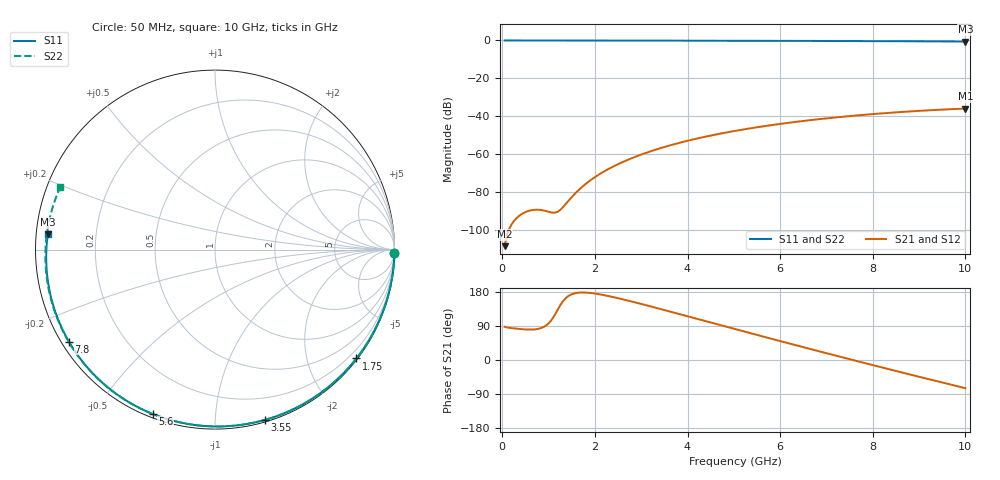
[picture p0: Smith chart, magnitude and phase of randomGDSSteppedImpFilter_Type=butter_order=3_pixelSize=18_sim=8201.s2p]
! freq	dB(S11)	phase(S11)	dB(S12)	phase(S12)
!  dB(S21)	phase(S21)	dB(S22)	phase(S22)
!S-par simulation data
#  GHz  S  DB  R 50
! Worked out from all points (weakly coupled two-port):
!   200 points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, 50 MHz to 10 GHz, reference 50 ohm
!   highest |S21| = -35.93 dB at 10 GHz (marker M1); lowest = -108.5 dB at 50 MHz (marker M2)
!   lowest |S11| = -0.6 dB at 10 GHz (marker M3), VSWR 29.88, Z = 1.68 + j2.3 ohm
!   |S11| at or under -10 dB: nowhere
!   |S22| runs from -0.6 to 0.0 dB; largest |S21 - S12| = 0
!   S11 on the Smith chart (normalised r, x): 50 MHz: open; 1.75 GHz: 0.03, -2.94; 3.55 GHz: 0.02, -1.34; 5.6 GHz: 0.02, -0.69; 7.8 GHz: 0.02, -0.29; 10 GHz: 0.03, +0.05
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0.05  -0.00 -1.1  -108.52 87.6  -108.52 87.6  -0.00 -1.1
0.4  -0.01 -8.8  -91.88 81.6  -91.88 81.6  -0.01 -8.9
0.8  -0.02 -17.4  -89.34 82.9  -89.34 82.9  -0.02 -17.6
1.6  -0.04 -34.4  -80.06 176.8  -80.06 176.8  -0.04 -34.9
1.75  -0.05 -37.6  -76.70 178.1  -76.70 178.1  -0.05 -38.1
2.05  -0.06 -43.8  -71.30 174.4  -71.30 174.4  -0.06 -44.4
2.45  -0.07 -52.0  -65.84 164.5  -65.84 164.5  -0.07 -52.8
2.9  -0.08 -61.0  -61.10 151.1  -61.10 151.1  -0.08 -62.0
3.4  -0.09 -70.7  -56.93 135.1  -56.93 135.1  -0.10 -72.1
3.55  -0.10 -73.6  -55.84 130.2  -55.84 130.2  -0.10 -75.1
4.3  -0.12 -87.7  -51.22 105.5  -51.22 105.5  -0.13 -89.7
5.05  -0.15 -101.2  -47.61 80.8  -47.61 80.8  -0.16 -104.0
5.6  -0.18 -110.8  -45.42 62.9  -45.42 62.9  -0.19 -114.2
6.15  -0.21 -120.2  -43.53 45.1  -43.53 45.1  -0.22 -124.4
6.7  -0.25 -129.5  -41.90 27.4  -41.90 27.4  -0.26 -134.7
7.25  -0.29 -138.6  -40.48 10.0  -40.48 10.0  -0.31 -145.0
7.8  -0.34 -147.8  -39.25 -7.3  -39.25 -7.3  -0.36 -155.5
8.35  -0.39 -156.9  -38.19 -24.3  -38.19 -24.3  -0.42 -166.3
8.8  -0.44 -164.5  -37.44 -38.2  -37.44 -38.2  -0.47 -175.5
9.2  -0.48 -171.3  -36.86 -50.3  -36.86 -50.3  -0.52 176.0
9.6  -0.53 -178.2  -36.36 -62.4  -36.36 -62.4  -0.58 167.2
10  -0.58 174.7  -35.93 -74.4  -35.93 -74.4  -0.63 157.9
